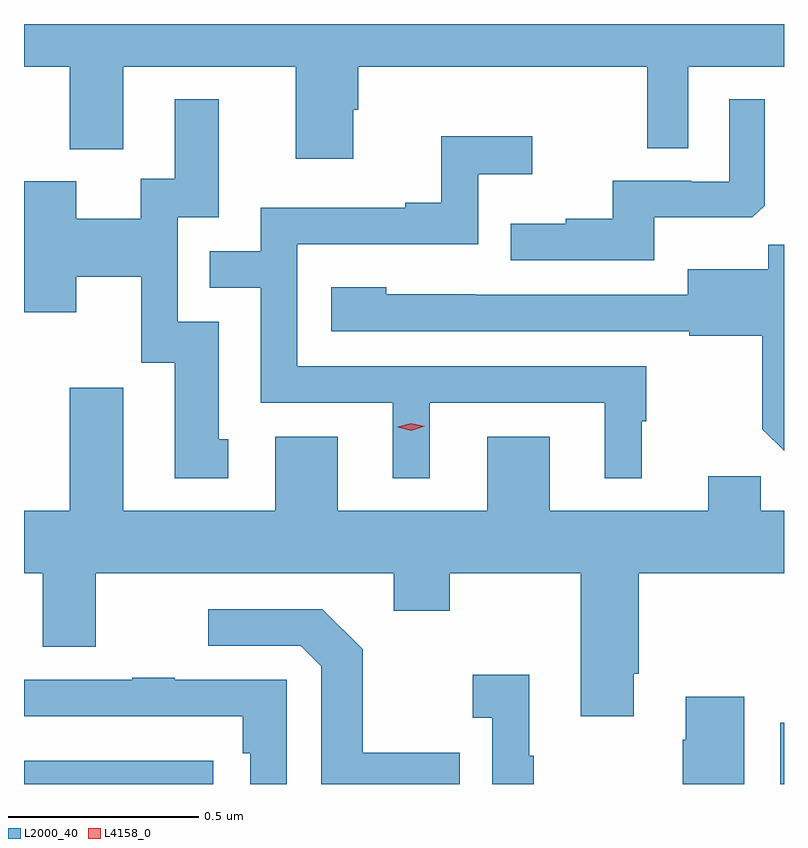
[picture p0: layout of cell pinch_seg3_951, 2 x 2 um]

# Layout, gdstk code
import gdstk
lib = gdstk.Library(unit=1e-6, precision=1e-09)
def R(c, l, rs):  # rectangles x0, y0, x1, y1
    for r in rs: c.add(gdstk.rectangle(r[:2], r[2:], *l))
def P(c, l, *ps):  # polygons
    for p in ps: c.add(gdstk.Polygon(p, *l))
L2000_40 = (2000, 40)
L4158_0 = (4158, 0)

pinch_seg3_951 = lib.new_cell('pinch_seg3_951')
R(pinch_seg3_951, L2000_40, [(852.232,695.033,852.73,695.094), (854.222,695.033,854.232,695.194)])
P(pinch_seg3_951, L2000_40, [(853.099,696.807),(853.112,696.807),(853.112,696.92),(853.872,696.92),(853.872,696.706),(853.98,696.706),(853.98,696.92),(854.232,696.92),(854.232,697.033),(852.232,697.033),(852.232,696.92),(852.353,696.92),(852.353,696.704),(852.493,696.704),(852.493,696.92),(852.947,696.92),(852.947,696.678),(853.099,696.678)],
  [(852.769,695.94),(852.745,695.94),(852.745,696.249),(852.636,696.249),(852.636,696.525),(852.745,696.525),(852.745,696.835),(852.629,696.835),(852.629,696.626),(852.539,696.626),(852.539,696.52),(852.37,696.52),(852.37,696.619),(852.232,696.619),(852.232,696.275),(852.37,696.275),(852.37,696.368),(852.54,696.368),(852.54,696.141),(852.629,696.141),(852.629,695.838),(852.769,695.838)],
  [(853.891,696.524),(854.149,696.524),(854.181,696.555),(854.181,696.835),(854.088,696.835),(854.088,696.618),(853.988,696.618),(853.988,696.621),(853.781,696.621),(853.781,696.52),(853.657,696.52),(853.657,696.508),(853.513,696.508),(853.513,696.411),(853.891,696.411)],
  [(853.3,696.036),(853.76,696.036),(853.76,695.837),(853.858,695.837),(853.858,695.988),(853.87,695.988),(853.87,696.132),(852.951,696.132),(852.951,696.453),(853.428,696.453),(853.428,696.638),(853.57,696.638),(853.57,696.737),(853.33,696.737),(853.33,696.562),(853.235,696.562),(853.235,696.549),(852.855,696.549),(852.855,696.435),(852.721,696.435),(852.721,696.339),(852.855,696.339),(852.855,696.036),(853.202,696.036),(853.202,695.837),(853.3,695.837)],
  [(854.232,696.452),(854.19,696.452),(854.19,696.388),(853.979,696.388),(853.979,696.321),(853.421,696.321),(853.421,696.322),(853.185,696.322),(853.185,696.34),(853.041,696.34),(853.041,696.225),(853.983,696.225),(853.983,696.213),(854.175,696.213),(854.175,695.967),(854.232,695.91)],
  [(853.837,695.323),(853.85,695.323),(853.85,695.588),(854.232,695.588),(854.232,695.752),(854.171,695.752),(854.171,695.843),(854.033,695.843),(854.033,695.752),(853.615,695.752),(853.615,695.947),(853.451,695.947),(853.451,695.752),(853.057,695.752),(853.057,695.947),(852.893,695.947),(852.893,695.752),(852.493,695.752),(852.493,696.076),(852.353,696.076),(852.353,695.752),(852.232,695.752),(852.232,695.588),(852.281,695.588),(852.281,695.394),(852.421,695.394),(852.421,695.588),(853.205,695.588),(853.205,695.489),(853.353,695.489),(853.353,695.588),(853.697,695.588),(853.697,695.211),(853.837,695.211)],
  [(853.379,695.115),(853.123,695.115),(853.123,695.387),(853.017,695.493),(852.717,695.493),(852.717,695.397),(852.96,695.397),(853.014,695.343),(853.014,695.033),(853.379,695.033)],
  [(853.573,695.107),(853.561,695.107),(853.561,695.32),(853.413,695.32),(853.413,695.207),(853.464,695.207),(853.464,695.033),(853.573,695.033)],
  [(852.924,695.307),(852.629,695.307),(852.629,695.312),(852.517,695.312),(852.517,695.307),(852.232,695.307),(852.232,695.211),(852.808,695.211),(852.808,695.114),(852.828,695.114),(852.828,695.033),(852.924,695.033)],
  [(854.128,695.263),(853.973,695.263),(853.973,695.15),(853.966,695.15),(853.966,695.033),(854.128,695.033)])
P(pinch_seg3_951, L4158_0, [(853.251,695.963),(853.215,695.972),(853.215,695.973),(853.215,695.973),(853.251,695.983),(853.287,695.974),(853.287,695.974),(853.287,695.974)])

lib.write_gds('pinch_seg3_951.gds')
